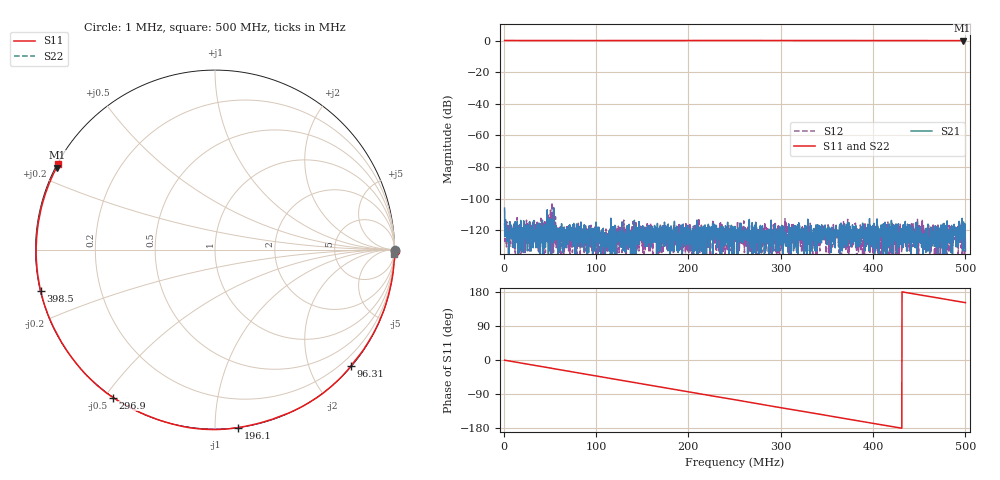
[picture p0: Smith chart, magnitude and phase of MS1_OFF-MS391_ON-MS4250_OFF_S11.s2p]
! MS46122B
! 1746301/73750021
! 11/3/2023 2:44:55 PM
! C:\USERS\SPEGWAL\DOWNLOADS\SAURABH\REACH\NODES\FRONT END\MEASUREMENTS\MEASURED S-PARAMETERS_03-11-2023\MS3-MS4_MS1_CABLE\MS1_OFF-MS391_ON-MS4250_OFF_S11.S2P
! CHANNEL.1
! TR.MEASUREMENT
! CORRECTED.DATA
# GHZ S RI R 50.0
! FREQ.GHZ  S11RE  S11IM  S21RE  S21IM  S12RE  S12IM  S22RE  S22IM
!; PortSelection: Port_12
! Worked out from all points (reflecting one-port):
!   2001 points, 1 MHz to 500 MHz, reference 50 ohm
!   lowest |S11| = -0.1 dB at 497 MHz (marker M1), VSWR 317.39, Z = 0.167 + j12.2 ohm
!   phase of S11 starts at -1 deg and turns -208 deg over the sweep
!   S11 on the Smith chart (normalised r, x): 1 MHz: open; 96.31 MHz: 0.01, -2.70; 196.1 MHz: 0.00, -1.14; 296.9 MHz: -0.00, -0.53; 398.5 MHz: 0.00, -0.12; 500 MHz: 0.00, +0.26
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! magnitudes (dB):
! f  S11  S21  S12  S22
! 1 MHz  0.0  -106.0  -115.4  0.0
! 4.742 MHz  0.0  -121.4  -116.5  0.0
! 9.233 MHz  0.0  -120.1  -124.3  0.0
! 34.18 MHz  0.0  -120.1  -119.2  0.0
! 84.33 MHz  0.0  -130.5  -118.7  0.0
! 91.32 MHz  0.0  -133.0  -119.7  0.0
! 96.31 MHz  0.0  -140.0  -120.5  0.0
! 112.8 MHz  0.0  -124.7  -124.4  0.0
! 128.5 MHz  0.0  -131.0  -123.0  0.0
! 167.4 MHz  0.0  -120.5  -  0.0
! 196.1 MHz  0.0  -118.4  -120.7  0.0
! 224.3 MHz  0.0  -119.1  -119.2  0.0
! 250.5 MHz  0.0  -117.5  -123.0  0.0
! 272.2 MHz  0.0  -122.8  -122.8  0.0
! 296.9 MHz  0.0  -133.0  -131.0  0.0
! 313.9 MHz  0.0  -133.0  -117.5  0.0
! 333.8 MHz  0.0  -121.4  -122.1  0.0
! 362 MHz  0.0  -121.9  -123.1  0.0
! 398.5 MHz  0.0  -124.9  -127.7  0.0
! 416.9 MHz  0.0  -130.0  -120.7  0.0
! 497 MHz  -0.1  -118.9  -127.7  0.0
! 500 MHz  -0.1  -133.0  -117.9  0.0
